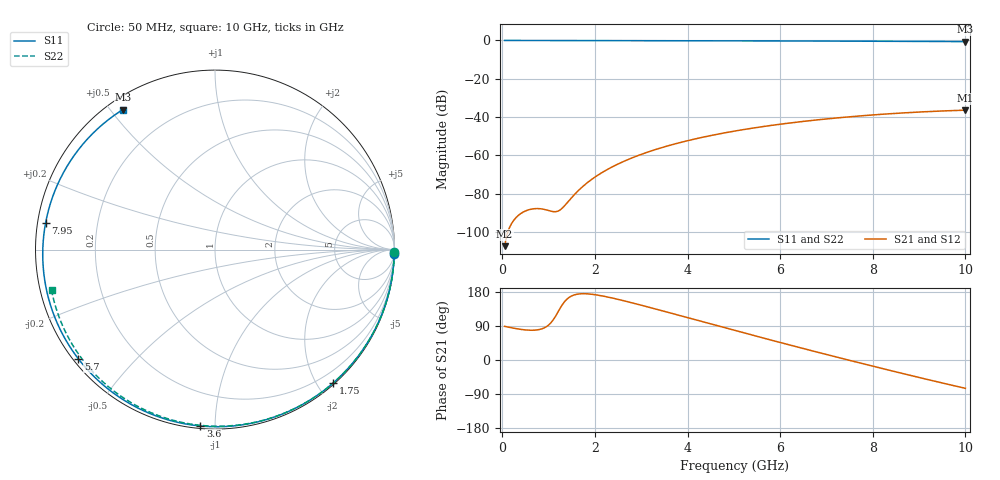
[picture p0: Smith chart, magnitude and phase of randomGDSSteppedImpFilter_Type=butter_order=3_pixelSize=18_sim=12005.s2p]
! freq	dB(S11)	phase(S11)	dB(S12)	phase(S12)
!  dB(S21)	phase(S21)	dB(S22)	phase(S22)
!S-par simulation data
#  GHz  S  DB  R 50
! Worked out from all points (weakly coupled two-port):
!   200 points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, 50 MHz to 10 GHz, reference 50 ohm
!   highest |S21| = -36.38 dB at 10 GHz (marker M1); lowest = -107.4 dB at 50 MHz (marker M2)
!   lowest |S11| = -0.6 dB at 10 GHz (marker M3), VSWR 29.22, Z = 2.21 + j26.9 ohm
!   |S11| at or under -10 dB: nowhere
!   |S22| runs from -0.6 to 0.0 dB; largest |S21 - S12| = 0
!   S11 on the Smith chart (normalised r, x): 50 MHz: 1, -83; 1.75 GHz: 0.02, -2.22; 3.6 GHz: 0.01, -0.92; 5.7 GHz: 0.01, -0.35; 7.95 GHz: 0.02, +0.08; 10 GHz: 0.04, +0.54
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0.05  -0.00 -1.4  -107.35 88.7  -107.35 88.7  -0.00 -0.9
0.4  -0.02 -11.3  -90.31 80.8  -90.31 80.8  -0.01 -7.5
0.75  -0.03 -21.1  -87.73 79.4  -87.73 79.4  -0.02 -14.1
1.15  -0.04 -32.2  -89.37 115.4  -89.37 115.4  -0.03 -21.5
1.55  -0.05 -43.1  -80.61 171.5  -80.61 171.5  -0.04 -28.9
1.6  -0.06 -44.4  -79.35 173.2  -79.35 173.2  -0.04 -29.8
1.75  -0.06 -48.4  -75.95 174.9  -75.95 174.9  -0.04 -32.6
2.05  -0.07 -56.4  -70.50 171.4  -70.50 171.4  -0.05 -38.0
2.45  -0.08 -66.7  -65.05 161.5  -65.05 161.5  -0.06 -45.2
2.9  -0.10 -77.9  -60.35 147.8  -60.35 147.8  -0.07 -53.1
3.4  -0.12 -90.0  -56.24 131.6  -56.24 131.6  -0.08 -61.8
3.6  -0.12 -94.8  -54.83 125.0  -54.83 125.0  -0.09 -65.2
4.3  -0.15 -110.8  -50.65 101.8  -50.65 101.8  -0.11 -76.9
5.05  -0.19 -127.4  -47.15 77.0  -47.15 77.0  -0.14 -89.1
5.7  -0.22 -141.3  -44.70 55.9  -44.70 55.9  -0.17 -99.5
6.2  -0.26 -151.9  -43.10 39.8  -43.10 39.8  -0.19 -107.2
6.7  -0.29 -162.4  -41.70 23.9  -41.70 23.9  -0.23 -114.9
7.35  -0.34 -176.1  -40.15 3.6  -40.15 3.6  -0.27 -124.9
7.95  -0.40 170.9  -38.96 -14.8  -38.96 -14.8  -0.32 -134.0
8.35  -0.43 162.1  -38.28 -26.9  -38.28 -26.9  -0.36 -140.1
9.15  -0.51 143.9  -37.18 -50.5  -37.18 -50.5  -0.45 -152.4
10  -0.59 123.3  -36.38 -74.7  -36.38 -74.7  -0.55 -166.0
